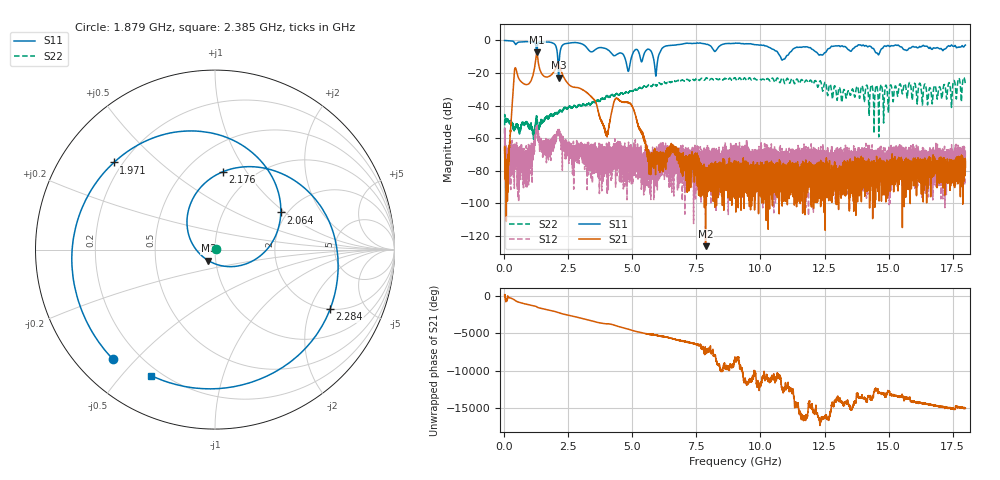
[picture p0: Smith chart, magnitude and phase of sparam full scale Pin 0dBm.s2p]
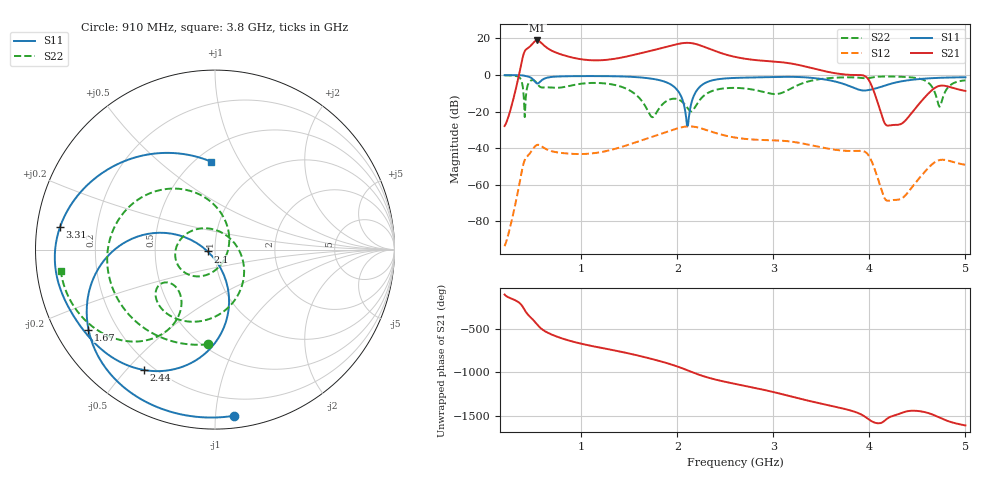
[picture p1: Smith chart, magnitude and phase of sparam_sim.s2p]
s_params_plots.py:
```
import matplotlib
import numpy as np
import seaborn as sns
import matplotlib.pyplot as plt

from pathlib import Path
from scipy.interpolate import interp1d
from matplotlib.transforms import blended_transform_factory

matplotlib.style.use('tesis.mplstyle')

SCRIPT_DIR	= Path(__file__).resolve().parent   # scripts/Python/
SCRIPTS_DIR	= SCRIPT_DIR.parent                 # scripts/
MEAS_DIR	= SCRIPTS_DIR / "Measurements"
OUTPUT_DIR	= SCRIPTS_DIR / "Figures"

palette = sns.color_palette("muted", 2)
c_grid  = "#b0b0b0"

FREQ_MARK		= 2.2   # GHz
S21_MEAS_OFFSET	= 30.3  # dB — corrección vertical para S21 medido (positivo = sube)

# Parser
def parse_s2p(file_path: Path):
	data = {k: [] for k in ['frequency', 'S11_db', 'S21_db']}
	with file_path.open('r') as f:
		for line in f:
			if line.startswith('!') or line.startswith('#') or not line.strip():
				continue
			try:
				v = line.split()
				if len(v) >= 9:
					data['frequency'].append(float(v[0]))
					data['S11_db'].append(float(v[1]))
					data['S21_db'].append(float(v[3]))

			except (ValueError, IndexError):
				continue
	return {k: np.array(v) for k, v in data.items()} if data['frequency'] else None


# Clip to common range
def common_range(d1, d2):
	f_min = max(d1['frequency'].min(), d2['frequency'].min())
	f_max = min(d1['frequency'].max(), d2['frequency'].max())
	return f_min, f_max

def clip(data, f_min, f_max):
	mask = (data['frequency'] >= f_min) & (data['frequency'] <= f_max)
	return {k: v[mask] for k, v in data.items()}


# Marker at FREQ_MARK
def add_marker(ax, freq_ghz, y_data, color, x_mark=FREQ_MARK, text_offset=(0.3, -1.5), alpha=1.0):
	
	interp = interp1d(freq_ghz, y_data, kind='linear', fill_value='extrapolate')
	y_mark = float(interp(x_mark))
	
	ax.plot(x_mark, y_mark, 'o', color=color, markersize=4, zorder=6, alpha=alpha)
	
	ax.annotate(
	    r"{:.1f} dB".format(y_mark),
	    xy=(x_mark, y_mark),
	    xytext=(x_mark + text_offset[0], y_mark + text_offset[1]),
	    fontsize=12,
	    color=color,
	    arrowprops=dict(arrowstyle='->', color=color, lw=0.7),
	)


# Plot factory (separate single-axis plots)
def make_s11_plot(freq_meas, s11_meas, freq_sim, s11_sim, filename):

	fig, ax = plt.subplots()

	# S11 plot
	ax.plot(freq_meas, s11_meas, linestyle='-' , color=palette[0], label=r"S11 Medido")
	ax.plot(freq_sim,  s11_sim,  linestyle='--', color=palette[0], alpha=0.85, label=r"S11 Simulado")

	# Add vertical dashed line at FREQ_MARK
	ax.axvline(x=FREQ_MARK, color=c_grid, linestyle='--', linewidth=1.0, alpha=0.5, zorder=1)
	t_s11 = blended_transform_factory(ax.transData, ax.transAxes)
	
	ax.text(FREQ_MARK + 0.17, 0.275, "2.2 GHz", transform=t_s11, rotation=270, va='top', ha='right', color=c_grid, fontsize=12)

	# Add markers for S11
	add_marker(ax, freq_meas, s11_meas, 'black', text_offset=(0.35, -1.5))
	add_marker(ax, freq_sim,  s11_sim,  'black', text_offset=(0.35, -1.0), alpha=0.85)

	ax.set_xlabel(r"Frecuencia (GHz)", labelpad=3)
	ax.set_ylabel(r"$\mathrm{|S_{11}|}$ (dB)", labelpad=3)
	ax.set_xlim(freq_meas.min(), freq_meas.max())
	ax.grid(True, linestyle='--', alpha=0.3)
	ax.legend(loc='lower left')

	plt.tight_layout()

	return fig, OUTPUT_DIR / filename


def make_s21_plot(freq_meas, s21_meas, freq_sim, s21_sim, filename):

	fig, ax = plt.subplots()

	# S21 plot
	ax.plot(freq_meas, s21_meas, ls='-' , c=palette[0], label=r"S21 Medido")
	ax.plot(freq_sim,  s21_sim,  ls='--', c=palette[0], alpha=0.85, label=r"S21 Simulado")

	# Add vertical dashed line at FREQ_MARK
	ax.axvline(x=FREQ_MARK, c=c_grid, ls='--', lw=1.0, alpha=0.5, zorder=1)
	t_s21 = blended_transform_factory(ax.transData, ax.transAxes)
	
	ax.text(FREQ_MARK + 0.17, 0.275, "2.2 GHz", transform=t_s21, rotation=270, va='top', ha='right', color=c_grid, fontsize=12)

	# Add markers for S21
	add_marker(ax, freq_meas, s21_meas, 'black', text_offset=(0.35, -1.0))
	add_marker(ax, freq_sim,  s21_sim,  'black', text_offset=(0.35, 1.0), alpha=0.85)

	ax.set_xlabel(r"Frecuencia (GHz)", labelpad=3)
	ax.set_ylabel(r"$\mathrm{|S_{21}|}$ (dB)", labelpad=3)
	ax.set_xlim(freq_meas.min(), freq_meas.max())
	ax.grid(True, linestyle='--', alpha=0.3)

	ax.legend(loc='lower left')

	plt.tight_layout()

	return fig, OUTPUT_DIR / filename


# Main
if __name__ == "__main__":
	path_meas = MEAS_DIR / "sparam full scale Pin 0dBm.s2p"
	path_sim  = MEAS_DIR / "sparam_sim.s2p"

	data_meas = parse_s2p(path_meas)
	data_sim  = parse_s2p(path_sim)

	if data_meas is None or data_sim is None:
		raise FileNotFoundError(f"No se pudieron cargar los archivos .s2p desde {MEAS_DIR}")

	f_min, f_max = common_range(data_meas, data_sim)
	d_meas = clip(data_meas, f_min, f_max)
	d_sim  = clip(data_sim,  f_min, f_max)

	freq_meas = d_meas['frequency'] / 1e9
	freq_sim  = d_sim['frequency']  / 1e9

	# Create separate plots for S11 and S21
	fig_s11, path_s11 = make_s11_plot(
		freq_meas, d_meas['S11_db'],
		freq_sim,  d_sim['S11_db'],
		filename="s11_plot.png",
	)

	fig_s21, path_s21 = make_s21_plot(
		freq_meas, d_meas['S21_db'] + S21_MEAS_OFFSET,
		freq_sim,  d_sim['S21_db'],
		filename="s21_plot.png",
	)

	OUTPUT_DIR.mkdir(exist_ok=True)
	fig_s11.savefig(path_s11, format='png')
	fig_s21.savefig(path_s21, format='png')
```
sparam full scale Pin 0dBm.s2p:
!Keysight Technologies,N5242B,US61255121,A.15.50.07
!Date: Wednesday, October 01, 2025 17:13:27
!Correction: S11(Cdelta 2-Port  )
!S21(Cdelta 2-Port  )
!S12(Cdelta 2-Port  )
!S22(Cdelta 2-Port  )
!S2P File: Measurements: S11, S21, S12, S22:
# Hz S  dB  R 50
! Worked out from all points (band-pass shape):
!   10001 points, 10 MHz to 18 GHz, reference 50 ohm
!   highest |S21| = -7.46 dB at 1.275 GHz (marker M1); lowest = -126.2 dB at 7.855 GHz (marker M2)
!   |S21| within 3 dB of the highest: 1.237 GHz to 1.3 GHz (63.29 MHz wide, 4.99 % of centre)
!   lowest |S11| = -22.9 dB at 2.117 GHz (marker M3), VSWR 1.15, Z = 46.1 - j5.65 ohm
!   |S11| at or under -10 dB: 4.686 GHz to 4.972 GHz (285.9 MHz wide, 5.92 % of centre); 5.806 GHz to 6.013 GHz (206.6 MHz wide, 3.5 % of centre); 10.78 GHz to 11 GHz (217.5 MHz wide, 2 % of centre)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
!   |S22| runs from -60.6 to -22.8 dB; largest |S21 - S12| = 0.42
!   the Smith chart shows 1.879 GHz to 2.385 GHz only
!   S11 on the Smith chart (normalised r, x): 1.879 GHz: 0.11, -0.43; 1.971 GHz: 0.17, +0.36; 2.064 GHz: 1.85, +0.93; 2.176 GHz: 0.73, +0.78; 2.284 GHz: 2.01, -2.78; 2.385 GHz: 0.16, -0.60
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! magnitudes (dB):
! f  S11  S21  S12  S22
! 10 MHz  -0.1  -69.0  -54.2  -57.1
! 1.275 GHz  -9.7  -7.5  -53.9  -48.7
! 1.879 GHz  -1.6  -20.5  -59.9  -46.3
! 1.971 GHz  -2.6  -18.3  -61.4  -44.4
! 2.064 GHz  -7.5  -15.4  -56.6  -44.8
! 2.117 GHz  -22.9  -15.1  -57.1  -44.1
! 2.176 GHz  -7.2  -17.0  -61.7  -43.1
! 2.284 GHz  -2.8  -21.5  -61.3  -43.3
! 2.385 GHz  -2.1  -24.5  -63.0  -41.3
! 7.855 GHz  -2.3  -126.2  -70.3  -23.6
! 9.005 GHz  -1.8  -91.3  -75.7  -23.0
! 18 GHz  -2.9  -74.4  -78.5  -27.1
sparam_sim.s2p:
! Created Wed Feb 11 23:24:43 2026
# hz S db R 50
! 2 Port Network Data from SP1.SP block
! freq  dbS11  angS11  dbS21  angS21  dbS12  angS12  dbS22  angS22
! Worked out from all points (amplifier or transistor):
!   481 points, 200 MHz to 5 GHz, reference 50 ohm
!   highest |S21| = 18.9 dB at 540 MHz (marker M1)
!   |S21| within 3 dB of that: 1.922 GHz to 2.254 GHz (331.6 MHz wide, 15.9 % of centre)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
!   unconditionally stable (mu >= 1): start of sweep to end of sweep
!   at 1 GHz: K = 2.54, MAG = 19.0 dB, |S12| = -43.2 dB
!   at 2.6 GHz: K = 1.98, MAG = 16.4 dB, |S12| = -34.2 dB
!   at 5 GHz: K = 44.92, MAG = 0.7 dB, |S12| = -49.1 dB
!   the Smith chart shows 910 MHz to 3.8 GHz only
!   S11 on the Smith chart (normalised r, x): 910 MHz: 0.08, -1.12; 1.67 GHz: 0.10, -0.29; 2.1 GHz: 0.92, -0.02; 2.44 GHz: 0.16, -0.56; 3.31 GHz: 0.07, +0.07; 3.8 GHz: 0.59, +0.76
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2e8  -0.05 -23.9  -27.88 -103.2  -93.60 167.8  -0.14 144.3
4.2e8  -0.54 -55.1  13.82 58.9  -45.46 -29.0  -12.52 -169.4
5.4e8  -4.62 -59.1  18.92 -88.9  -38.19 -176.2  -4.77 76.1
9.1e8  -0.61 -83.4  9.51 75.0  -43.12 -10.4  -5.53 -94.2
1.67e9  -1.58 -147.7  12.60 -106.9  -34.96 171.6  -17.41 57.2
2.1e9  -27.54 -165.5  17.62 107.2  -28.11 28.1  -17.72 113.7
2.44e9  -2.17 -120.6  12.25 -13.2  -32.33 -90.4  -7.63 -105.0
2.6e9  -1.56 -135.8  9.94 -51.3  -34.18 -127.6  -7.02 -128.9
3.31e9  -1.18 171.7  4.95 129.2  -37.50 57.4  -4.38 -125.0
3.8e9  -6.19 92.6  0.09 3.6  -41.54 -64.8  -1.25 -172.2
5e9  -1.21 -159.3  -8.68 -169.8  -49.07 132.2  -2.89 113.5
